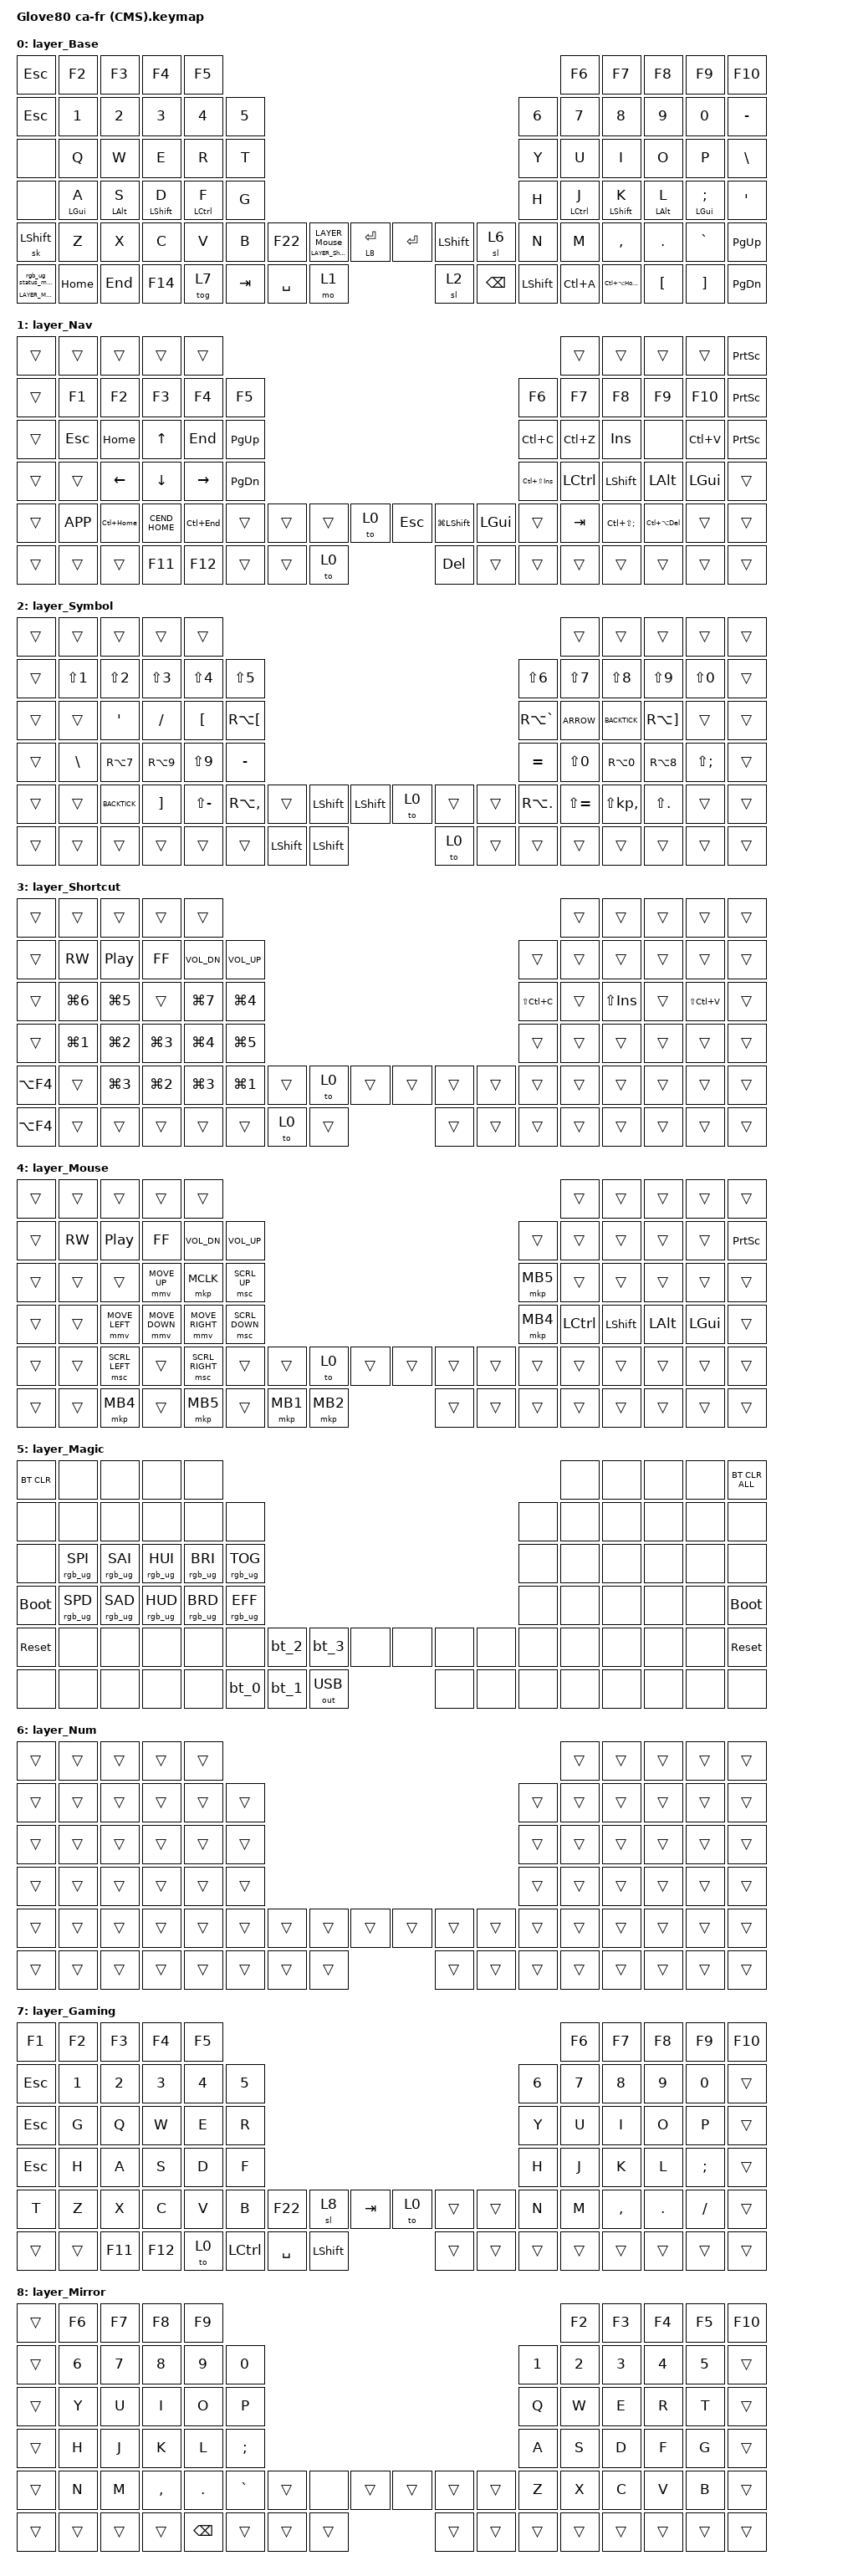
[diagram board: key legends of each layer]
/*
 * Copyright (c) 2020 The ZMK Contributors
 * Copyright (c) 2025 Innaworks Development Limited, trading as MoErgo
 *
 * SPDX-License-Identifier: MIT
 */


/* THIS FILE WAS GENERATED BY GLOVE80 LAYOUT EDITOR
 *
 * This file was generated automatically. You may or may not want to
 * edit it directly.
 */

#include <behaviors.dtsi>
/* Include all behavior includes needed */
#include <dt-bindings/zmk/outputs.h>
#include <dt-bindings/zmk/keys.h>
#include <dt-bindings/zmk/bt.h>
#include <dt-bindings/zmk/rgb.h>

/* On demand includes */
#include <dt-bindings/zmk/pointing.h>

/* Automatically generated layer name #define */
#define LAYER_Base 0
#define LAYER_Nav 1
#define LAYER_Symbol 2
#define LAYER_Shortcut 3
#define LAYER_Mouse 4
#define LAYER_Magic 5
#define LAYER_Num 6
#define LAYER_Gaming 7
#define LAYER_Mirror 8

/* To deal with the situation where there is no Lower layer, to keep &lower happy */
#ifndef LAYER_Lower
#define LAYER_Lower 0
#endif

/* Custom Device-tree */
/ {
    underglow-layer {
        compatible  = "zmk,underglow-layer";

        // color definitions from QMK
        // https://github.com/qmk/qmk_firmware/blob/master/quantum/color.h
        //
        #define RGB_AZURE     0x99F5FF // #99F5FF
        #define RGB_BLACK     0x000000 // #000000
        #define RGB_BLUE      0x0000FF // #0000FF
        #define RGB_CHARTRSE  0x80FF00 // #80FF00
        #define RGB_CORAL     0xFF7C4D // #FF7C4D
        #define RGB_CYAN      0x00FFFF // #00FFFF
        #define RGB_GOLD      0xFFD900 // #FFD900
        #define RGB_GOLDNROD  0xD9A521 // #D9A521
        #define RGB_GREEN     0x00FF00 // #00FF00
        #define RGB_MAGENTA   0xFF00FF // #FF00FF
        #define RGB_ORANGE    0xFF8000 // #FF8000
        #define RGB_PINK      0xFF80BF // #FF80BF
        #define RGB_PURPLE    0x7A00FF // #7A00FF
        #define RGB_RED       0xFF0000 // #FF0000
        #define RGB_SPRINGRN  0x00FF80 // #00FF80
        #define RGB_TEAL      0x008080 // #008080
        #define RGB_TURQUOIS  0x476E6A // #476E6A
        #define RGB_WHITE     0xFFFFFF // #FFFFFF
        #define RGB_YELLOW    0xFFFF00 // #FFFF00

        // underglow for the colors above
        //
        #define AZURE     &ug RGB_AZURE
        #define BLACK     &ug RGB_BLACK
        #define BLUE      &ug RGB_BLUE
        #define CHARTRSE  &ug RGB_CHARTRSE
        #define CORAL     &ug RGB_CORAL
        #define CYAN      &ug RGB_CYAN
        #define GOLD      &ug RGB_GOLD
        #define GOLDNROD  &ug RGB_GOLDNROD
        #define GREEN     &ug RGB_GREEN
        #define MAGENTA   &ug RGB_MAGENTA
        #define ORANGE    &ug RGB_ORANGE
        #define PINK      &ug RGB_PINK
        #define PURPLE    &ug RGB_PURPLE
        #define RED       &ug RGB_RED
        #define SPRINGRN  &ug RGB_SPRINGRN
        #define TEAL      &ug RGB_TEAL
        #define TURQUOIS  &ug RGB_TURQUOIS
        #define WHITE     &ug RGB_WHITE
        #define YELLOW    &ug RGB_YELLOW
        #define ________  &ug RGB_BLACK

        /*
        Template {
            bindings = <
                ________ ________ ________ ________ ________                                                                          ________ ________ ________ ________ ________
                ________ ________ ________ ________ ________ ________                                                        ________ ________ ________ ________ ________ ________
                ________ ________ ________ ________ ________ ________                                                        ________ ________ ________ ________ ________ ________
                ________ ________ ________ ________ ________ ________                                                        ________ ________ ________ ________ ________ ________
                ________ ________ ________ ________ ________ ________ ________ ________ ________  ________ ________ ________ ________ ________ ________ ________ ________ ________
                ________ ________ ________ ________ ________          ________ ________ ________  ________ ________ ________          ________ ________ ________ ________ ________
        >;
            layer-id = <LAYER_Template>;
        };
        */
        nav {
            bindings = <
                GREEN    GREEN    GREEN    GREEN    GREEN                                                                             GREEN    GREEN    GREEN    GREEN    GREEN
                ________ ________ ________ ________ ________ ________                                                        ________ ________ ________ ________ ________ ________
                ________ ________ ________ ________ ________ ________                                                        ________ ________ ________ ________ ________ ________
                ________ ________ ________ ________ ________ ________                                                        ________ ________ ________ ________ ________ ________
                ________ ________ ________ ________ ________ ________ ________ ________ ________  ________ ________ ________ ________ ________ ________ ________ ________ ________
                ________ ________ ________ ________ ________          ________ ________ ________  ________ ________ ________          ________ ________ ________ ________ ________
        >;
            layer-id = <LAYER_Nav>;
        };

        symbol {
            bindings = <
                PINK     PINK     PINK     PINK     PINK                                                                              PINK     PINK     PINK     PINK     PINK
                ________ ________ ________ ________ ________ ________                                                        ________ ________ ________ ________ ________ ________
                ________ ________ ________ ________ ________ ________                                                        ________ ________ ________ ________ ________ ________
                ________ ________ ________ ________ ________ ________                                                        ________ ________ ________ ________ ________ ________
                ________ ________ ________ ________ ________ ________ ________ ________ ________  ________ ________ ________ ________ ________ ________ ________ ________ ________
                ________ ________ ________ ________ ________          ________ ________ ________  ________ ________ ________          ________ ________ ________ ________ ________
        >;
            layer-id = <LAYER_Symbol>;
        };

        shortcut {
            bindings = <
                ORANGE   ORANGE   ORANGE   ORANGE   ORANGE                                                                            ORANGE   ORANGE   ORANGE   ORANGE   ORANGE
                ________ ________ ________ ________ ________ ________                                                        ________ ________ ________ ________ ________ ________
                ________ ________ ________ ________ ________ ________                                                        ________ ________ ________ ________ ________ ________
                ________ ________ ________ ________ ________ ________                                                        ________ ________ ________ ________ ________ ________
                ________ ________ ________ ________ ________ ________ ________ ________ ________  ________ ________ ________ ________ ________ ________ ________ ________ ________
                ________ ________ ________ ________ ________          ________ ________ ________  ________ ________ ________          ________ ________ ________ ________ ________
        >;
            layer-id = <LAYER_Shortcut>;
        };

        mouse {
            bindings = <
                YELLOW   YELLOW   YELLOW   YELLOW   YELLOW                                                                            YELLOW   YELLOW   YELLOW   YELLOW   YELLOW
                ________ ________ ________ ________ ________ ________                                                        ________ ________ ________ ________ ________ ________
                ________ ________ ________ ________ ________ ________                                                        ________ ________ ________ ________ ________ ________
                ________ ________ ________ ________ ________ ________                                                        ________ ________ ________ ________ ________ ________
                ________ ________ ________ ________ ________ ________ ________ ________ ________  ________ ________ ________ ________ ________ ________ ________ ________ ________
                ________ ________ ________ ________ ________          ________ ________ ________  ________ ________ ________          ________ ________ ________ ________ ________
        >;
            layer-id = <LAYER_Mouse>;
        };

        magic {
            bindings = <
                MAGENTA  MAGENTA  MAGENTA  MAGENTA  MAGENTA                                                                           MAGENTA  MAGENTA  MAGENTA  MAGENTA  MAGENTA
                ________ ________ ________ ________ ________ ________                                                        ________ ________ ________ ________ ________ ________
                ________ ________ ________ ________ ________ ________                                                        ________ ________ ________ ________ ________ ________
                ________ ________ ________ ________ ________ ________                                                        ________ ________ ________ ________ ________ ________
                ________ ________ ________ ________ ________ ________ ________ ________ ________  ________ ________ ________ ________ ________ ________ ________ ________ ________
                ________ ________ ________ ________ ________          ________ ________ ________  ________ ________ ________          ________ ________ ________ ________ ________
        >;
            layer-id = <LAYER_Magic>;
        };

        gaming {
            bindings = <
                RED      RED      RED      RED      RED                                                                               ________ ________ ________ ________ ________
                ________ ________ ________ ________ ________ ________                                                        ________ ________ ________ ________ ________ ________
                ________ ________ ________ ________ ________ ________                                                        ________ ________ ________ ________ ________ ________
                ________ ________ ________ ________ ________ ________                                                        ________ ________ ________ ________ ________ ________
                ________ ________ ________ ________ ________ ________ ________ ________ ________  ________ ________ ________ ________ ________ ________ ________ ________ ________
                ________ ________ ________ ________ ________          ________ ________ ________  ________ ________ ________          ________ ________ ________ ________ ________
        >;
            layer-id = <LAYER_Gaming>;
        };

        mirror {
            bindings = <
                WHITE    WHITE    WHITE    WHITE    WHITE                                                                             WHITE    WHITE    WHITE    WHITE    WHITE
                ________ ________ ________ ________ ________ ________                                                        ________ ________ ________ ________ ________ ________
                ________ ________ ________ ________ ________ ________                                                        ________ ________ ________ ________ ________ ________
                ________ ________ ________ ________ ________ ________                                                        ________ ________ ________ ________ ________ ________
                ________ ________ ________ ________ ________ ________ ________ ________ ________  ________ ________ ________ ________ ________ ________ ________ ________ ________
                ________ ________ ________ ________ ________          ________ ________ ________  ________ ________ ________          ________ ________ ________ ________ ________
        >;
            layer-id = <LAYER_Mirror>;
        };
    };
};

/* Input Listeners */


/* System behavior and Macros */
/ {
    behaviors {
        // For the "layer" key, it'd nice to be able to use it as either a shift or a toggle.
        // Configure it as a tap dance, so the first tap (or hold) is a &mo and the second tap is a &to
        lower: lower {
            compatible = "zmk,behavior-tap-dance";
            label = "LAYER_TAP_DANCE";
            #binding-cells = <0>;
            tapping-term-ms = <200>;
            bindings = <&mo LAYER_Lower>, <&to LAYER_Lower>;
        };
    };
};

/ {
    macros {
        rgb_ug_status_macro: rgb_ug_status_macro {
            label = "RGB_UG_STATUS";
            compatible = "zmk,behavior-macro";
            #binding-cells = <0>;
            bindings
                = <&rgb_ug RGB_STATUS>;
        };
    };
};


/ {
#ifdef BT_DISC_CMD
    behaviors {
        bt_0: bt_0 {
            compatible = "zmk,behavior-tap-dance";
            label = "BT_0";
            #binding-cells = <0>;
            tapping-term-ms = <200>;
            bindings = <&bt_select_0>, <&bt BT_DISC 0>;
        };
        bt_1: bt_1 {
            compatible = "zmk,behavior-tap-dance";
            label = "BT_1";
            #binding-cells = <0>;
            tapping-term-ms = <200>;
            bindings = <&bt_select_1>, <&bt BT_DISC 1>;
        };
        bt_2: bt_2 {
            compatible = "zmk,behavior-tap-dance";
            label = "BT_2";
            #binding-cells = <0>;
            tapping-term-ms = <200>;
            bindings = <&bt_select_2>, <&bt BT_DISC 2>;
        };
        bt_3: bt_3 {
            compatible = "zmk,behavior-tap-dance";
            label = "BT_3";
            #binding-cells = <0>;
            tapping-term-ms = <200>;
            bindings = <&bt_select_3>, <&bt BT_DISC 3>;
        };
    };
    macros {
        bt_select_0: bt_select_0 {
            label = "BT_SELECT_0";
            compatible = "zmk,behavior-macro";
            #binding-cells = <0>;
            bindings
                = <&out OUT_BLE>,
                  <&bt BT_SEL 0>;
        };
        bt_select_1: bt_select_1 {
            label = "BT_SELECT_1";
            compatible = "zmk,behavior-macro";
            #binding-cells = <0>;
            bindings
                = <&out OUT_BLE>,
                  <&bt BT_SEL 1>;
        };
        bt_select_2: bt_select_2 {
            label = "BT_SELECT_2";
            compatible = "zmk,behavior-macro";
            #binding-cells = <0>;
            bindings
                = <&out OUT_BLE>,
                  <&bt BT_SEL 2>;
        };
        bt_select_3: bt_select_3 {
            label = "BT_SELECT_3";
            compatible = "zmk,behavior-macro";
            #binding-cells = <0>;
            bindings
                = <&out OUT_BLE>,
                  <&bt BT_SEL 3>;
        };
    };
#else
    macros {
        bt_0: bt_0 {
            label = "BT_0";
            compatible = "zmk,behavior-macro";
            #binding-cells = <0>;
            bindings
                = <&out OUT_BLE>,
                  <&bt BT_SEL 0>;
        };
        bt_1: bt_1 {
            label = "BT_1";
            compatible = "zmk,behavior-macro";
            #binding-cells = <0>;
            bindings
                = <&out OUT_BLE>,
                  <&bt BT_SEL 1>;
        };
        bt_2: bt_2 {
            label = "BT_2";
            compatible = "zmk,behavior-macro";
            #binding-cells = <0>;
            bindings
                = <&out OUT_BLE>,
                  <&bt BT_SEL 2>;
        };
        bt_3: bt_3 {
            label = "BT_3";
            compatible = "zmk,behavior-macro";
            #binding-cells = <0>;
            bindings
                = <&out OUT_BLE>,
                  <&bt BT_SEL 3>;
        };
    };
#endif
};

/ {
    behaviors {
        magic: magic {
            compatible = "zmk,behavior-hold-tap";
            label = "MAGIC_HOLD_TAP";
            #binding-cells = <2>;
            flavor = "tap-preferred";
            tapping-term-ms = <200>;
            bindings = <&mo>, <&rgb_ug_status_macro>;
        };
    };
};

/* #define for key positions */
#define POS_LH_T1 52
#define POS_LH_T2 53
#define POS_LH_T3 54
#define POS_LH_T4 69
#define POS_LH_T5 70
#define POS_LH_T6 71
#define POS_LH_C1R2 15
#define POS_LH_C1R3 27
#define POS_LH_C1R4 39
#define POS_LH_C1R5 51
#define POS_LH_C2R1 4
#define POS_LH_C2R2 14
#define POS_LH_C2R3 26
#define POS_LH_C2R4 38
#define POS_LH_C2R5 50
#define POS_LH_C2R6 68
#define POS_LH_C3R1 3
#define POS_LH_C3R2 13
#define POS_LH_C3R3 25
#define POS_LH_C3R4 37
#define POS_LH_C3R5 49
#define POS_LH_C3R6 67
#define POS_LH_C4R1 2
#define POS_LH_C4R2 12
#define POS_LH_C4R3 24
#define POS_LH_C4R4 36
#define POS_LH_C4R5 48
#define POS_LH_C4R6 66
#define POS_LH_C5R1 1
#define POS_LH_C5R2 11
#define POS_LH_C5R3 23
#define POS_LH_C5R4 35
#define POS_LH_C5R5 47
#define POS_LH_C5R6 65
#define POS_LH_C6R1 0
#define POS_LH_C6R2 10
#define POS_LH_C6R3 22
#define POS_LH_C6R4 34
#define POS_LH_C6R5 46
#define POS_LH_C6R6 64
#define POS_RH_T1 57
#define POS_RH_T2 56
#define POS_RH_T3 55
#define POS_RH_T4 74
#define POS_RH_T5 73
#define POS_RH_T6 72
#define POS_RH_C1R2 16
#define POS_RH_C1R3 28
#define POS_RH_C1R4 40
#define POS_RH_C1R5 58
#define POS_RH_C2R1 5
#define POS_RH_C2R2 17
#define POS_RH_C2R3 29
#define POS_RH_C2R4 41
#define POS_RH_C2R5 59
#define POS_RH_C2R6 75
#define POS_RH_C3R1 6
#define POS_RH_C3R2 18
#define POS_RH_C3R3 30
#define POS_RH_C3R4 42
#define POS_RH_C3R5 60
#define POS_RH_C3R6 76
#define POS_RH_C4R1 7
#define POS_RH_C4R2 19
#define POS_RH_C4R3 31
#define POS_RH_C4R4 43
#define POS_RH_C4R5 61
#define POS_RH_C4R6 77
#define POS_RH_C5R1 8
#define POS_RH_C5R2 20
#define POS_RH_C5R3 32
#define POS_RH_C5R4 44
#define POS_RH_C5R5 62
#define POS_RH_C5R6 78
#define POS_RH_C6R1 9
#define POS_RH_C6R2 21
#define POS_RH_C6R3 33
#define POS_RH_C6R4 45
#define POS_RH_C6R5 63
#define POS_RH_C6R6 79

/* Custom Defined Behaviors */
/ {
#include <dt-bindings/zmk/behaviors.h>

behaviors {
        mt: mod_tap {
            compatible = "zmk,behavior-hold-tap";
            #binding-cells = <2>;
            flavor = "tap-preferred";
            tapping-term-ms = <250>;
            require-prior-idle-ms = <125>;
            bindings = <&kp>, <&kp>;
            display-name = "Mod-Tap";
        };

        mo_tog: behavior_mo_tog {
            compatible = "zmk,behavior-hold-tap";
            #binding-cells = <2>;
            flavor = "hold-preferred";
            tapping-term-ms = <200>;
            bindings = <&mo>, <&tog>;
        };
    };
};

/* Automatically generated macro definitions */
/ {
    macros {

        // Ctrl+End, Home
        CEND_HOME: CEND_HOME {
            label = "&CEND_HOME";
            compatible = "zmk,behavior-macro";
            #binding-cells = <0>;
            bindings = <&kp LC(END)>
                , <&kp HOME>;
        };

        // ` CMS
        BACKTICK: BACKTICK {
            label = "&BACKTICK";
            compatible = "zmk,behavior-macro";
            #binding-cells = <0>;
            bindings = <&kp RA(LBKT)>
                , <&kp SPACE>;
        };

        // -> CMS
        ARROW: ARROW {
            label = "&ARROW";
            compatible = "zmk,behavior-macro";
            #binding-cells = <0>;
            bindings = <&kp MINUS>
                , <&kp RA(DOT)>;
        };
    };
};

/* Automatically generated behavior definitions */
/ {
    behaviors {

    };
};

/* Automatically generated combos definitions */


/* Automatically generated keymap */
/ {
    keymap {
        compatible = "zmk,keymap";


        layer_Base {
            bindings = <
              &kp ESC      &kp F2      &kp F3       &kp F4       &kp F5                                                                                                              &kp F6            &kp F7      &kp F8         &kp F9    &kp F10
              &kp ESC      &kp N1      &kp N2       &kp N3       &kp N4  &kp N5                                                                                         &kp N6       &kp N7            &kp N8      &kp N9         &kp N0  &kp MINUS
                &none       &kp Q       &kp W        &kp E        &kp R   &kp T                                                                                          &kp Y        &kp U             &kp I       &kp O          &kp P   &kp BSLH
                &none  &mt LGUI A  &mt LALT S  &mt LSHFT D  &mt LCTRL F   &kp G                                                                                          &kp H  &mt LCTRL J       &mt LSHFT K  &mt LALT L  &mt LGUI SEMI    &kp SQT
            &sk LSHFT       &kp Z       &kp X        &kp C        &kp V   &kp B  &kp F22  &mo_tog LAYER_Shortcut LAYER_Mouse  &lt 8 RET  &kp RET  &kp LSHFT      &sl 6   &kp N        &kp M         &kp COMMA     &kp DOT      &kp GRAVE  &kp PG_UP
 &magic LAYER_Magic 0    &kp HOME     &kp END      &kp F14       &tog 7          &kp TAB                           &kp SPACE      &mo 1    &sl 2   &kp BSPC  &kp LSHFT            &kp LC(A)  &kp LC(LA(HOME))    &kp LBKT       &kp RBKT  &kp PG_DN
            >;
        };

        layer_Nav {
            bindings = <
 &trans     &trans          &trans          &trans           &trans                                                                                           &trans            &trans           &trans     &trans  &kp PSCRN
 &trans     &kp F1          &kp F2          &kp F3           &kp F4     &kp F5                                                                     &kp F6     &kp F7            &kp F8           &kp F9    &kp F10  &kp PSCRN
 &trans    &kp ESC        &kp HOME    &kp UP_ARROW          &kp END  &kp PG_UP                                                                  &kp LC(C)  &kp LC(Z)           &kp INS            &none  &kp LC(V)  &kp PSCRN
 &trans     &trans  &kp LEFT_ARROW  &kp DOWN_ARROW  &kp RIGHT_ARROW  &kp PG_DN                                                            &kp LC(LS(INS))  &kp LCTRL         &kp LSHFT         &kp LALT   &kp LGUI     &trans
 &trans  &kp K_APP    &kp LC(HOME)      &CEND_HOME      &kp LC(END)     &trans  &trans  &trans   &to 0  &kp ESC  &kp LG(LSHFT)  &kp LGUI           &trans    &kp TAB  &kp LC(LS(SEMI))  &kp LC(LA(DEL))     &trans     &trans
 &trans     &trans          &trans         &kp F11          &kp F12             &trans  &trans   &to 0  &kp DEL         &trans    &trans                      &trans            &trans           &trans     &trans     &trans
            >;
        };

        layer_Symbol {
            bindings = <
 &trans      &trans      &trans      &trans         &trans                                                                                             &trans            &trans        &trans        &trans  &trans
 &trans  &kp LS(N1)  &kp LS(N2)  &kp LS(N3)     &kp LS(N4)     &kp LS(N5)                                                           &kp LS(N6)     &kp LS(N7)        &kp LS(N8)    &kp LS(N9)    &kp LS(N0)  &trans
 &trans      &trans     &kp SQT    &kp FSLH       &kp LBKT   &kp RA(LBKT)                                                        &kp RA(GRAVE)         &ARROW         &BACKTICK  &kp RA(RBKT)        &trans  &trans
 &trans    &kp BSLH  &kp RA(N7)  &kp RA(N9)     &kp LS(N9)      &kp MINUS                                                            &kp EQUAL     &kp LS(N0)        &kp RA(N0)    &kp RA(N8)  &kp LS(SEMI)  &trans
 &trans      &trans   &BACKTICK    &kp RBKT  &kp LS(MINUS)  &kp RA(COMMA)  &trans  &kp LSHFT  &kp LSHFT   &to 0  &trans  &trans    &kp RA(DOT)  &kp LS(EQUAL)  &kp LS(KP_COMMA)   &kp LS(DOT)        &trans  &trans
 &trans      &trans      &trans      &trans         &trans                 &trans  &kp LSHFT  &kp LSHFT   &to 0  &trans  &trans                        &trans            &trans        &trans        &trans  &trans
            >;
        };

        layer_Shortcut {
            bindings = <
     &trans      &trans      &trans      &trans        &trans                                                                               &trans       &trans  &trans         &trans  &trans
     &trans    &kp C_RW    &kp C_PP    &kp C_FF  &kp K_VOL_DN  &kp K_VOL_UP                                                         &trans  &trans       &trans  &trans         &trans  &trans
     &trans  &kp LG(N6)  &kp LG(N5)      &trans    &kp LG(N7)    &kp LG(N4)                                                  &kp LS(LC(C))  &trans  &kp LS(INS)  &trans  &kp LS(LC(V))  &trans
     &trans  &kp LG(N1)  &kp LG(N2)  &kp LG(N3)    &kp LG(N4)    &kp LG(N5)                                                         &trans  &trans       &trans  &trans         &trans  &trans
 &kp LA(F4)      &trans  &kp LG(N3)  &kp LG(N2)    &kp LG(N3)    &kp LG(N1)  &trans   &to 0  &trans  &trans  &trans  &trans         &trans  &trans       &trans  &trans         &trans  &trans
 &kp LA(F4)      &trans      &trans      &trans        &trans                &trans   &to 0  &trans  &trans  &trans  &trans                 &trans       &trans  &trans         &trans  &trans
            >;
        };

        layer_Mouse {
            bindings = <
 &trans    &trans          &trans          &trans           &trans                                                                                   &trans     &trans    &trans    &trans     &trans
 &trans  &kp C_RW        &kp C_PP        &kp C_FF     &kp K_VOL_DN    &kp K_VOL_UP                                                        &trans     &trans     &trans    &trans    &trans  &kp PSCRN
 &trans    &trans          &trans    &mmv MOVE_UP        &mkp MCLK    &msc SCRL_UP                                                      &mkp MB5     &trans     &trans    &trans    &trans     &trans
 &trans    &trans  &mmv MOVE_LEFT  &mmv MOVE_DOWN  &mmv MOVE_RIGHT  &msc SCRL_DOWN                                                      &mkp MB4  &kp LCTRL  &kp LSHFT  &kp LALT  &kp LGUI     &trans
 &trans    &trans  &msc SCRL_LEFT          &trans  &msc SCRL_RIGHT          &trans  &trans     &to 0    &trans  &trans  &trans  &trans    &trans     &trans     &trans    &trans    &trans     &trans
 &trans    &trans        &mkp MB4          &trans         &mkp MB5                  &trans  &mkp MB1  &mkp MB2  &trans  &trans  &trans               &trans     &trans    &trans    &trans     &trans
            >;
        };

        layer_Magic {
            bindings = <
  &bt BT_CLR            &none            &none            &none            &none                                                                                  &none   &none   &none   &none  &bt BT_CLR_ALL
       &none            &none            &none            &none            &none            &none                                                         &none   &none   &none   &none   &none           &none
       &none  &rgb_ug RGB_SPI  &rgb_ug RGB_SAI  &rgb_ug RGB_HUI  &rgb_ug RGB_BRI  &rgb_ug RGB_TOG                                                         &none   &none   &none   &none   &none           &none
 &bootloader  &rgb_ug RGB_SPD  &rgb_ug RGB_SAD  &rgb_ug RGB_HUD  &rgb_ug RGB_BRD  &rgb_ug RGB_EFF                                                         &none   &none   &none   &none   &none     &bootloader
  &sys_reset            &none            &none            &none            &none            &none   &bt_2   &bt_3         &none   &none   &none   &none   &none   &none   &none   &none   &none      &sys_reset
       &none            &none            &none            &none            &none                    &bt_0   &bt_1  &out OUT_USB   &none   &none   &none           &none   &none   &none   &none           &none
            >;
        };

        layer_Num {
            bindings = <
 &trans  &trans  &trans  &trans  &trans                                                                  &trans  &trans  &trans  &trans  &trans
 &trans  &trans  &trans  &trans  &trans  &trans                                                  &trans  &trans  &trans  &trans  &trans  &trans
 &trans  &trans  &trans  &trans  &trans  &trans                                                  &trans  &trans  &trans  &trans  &trans  &trans
 &trans  &trans  &trans  &trans  &trans  &trans                                                  &trans  &trans  &trans  &trans  &trans  &trans
 &trans  &trans  &trans  &trans  &trans  &trans  &trans  &trans  &trans  &trans  &trans  &trans  &trans  &trans  &trans  &trans  &trans  &trans
 &trans  &trans  &trans  &trans  &trans          &trans  &trans  &trans  &trans  &trans  &trans          &trans  &trans  &trans  &trans  &trans
            >;
        };

        layer_Gaming {
            bindings = <
  &kp F1  &kp F2   &kp F3   &kp F4  &kp F5                                                                           &kp F6     &kp F7   &kp F8    &kp F9  &kp F10
 &kp ESC  &kp N1   &kp N2   &kp N3  &kp N4  &kp N5                                                           &kp N6  &kp N7     &kp N8   &kp N9    &kp N0   &trans
 &kp ESC   &kp G    &kp Q    &kp W   &kp E   &kp R                                                            &kp Y   &kp U      &kp I    &kp O     &kp P   &trans
 &kp ESC   &kp H    &kp A    &kp S   &kp D   &kp F                                                            &kp H   &kp J      &kp K    &kp L  &kp SEMI   &trans
   &kp T   &kp Z    &kp X    &kp C   &kp V   &kp B    &kp F22      &sl 8    &kp TAB   &to 0  &trans  &trans   &kp N   &kp M  &kp COMMA  &kp DOT  &kp FSLH   &trans
  &trans  &trans  &kp F11  &kp F12   &to 0          &kp LCTRL  &kp SPACE  &kp LSHFT  &trans  &trans  &trans          &trans     &trans   &trans    &trans   &trans
            >;
        };

        layer_Mirror {
            bindings = <
 &trans  &kp F6  &kp F7     &kp F8    &kp F9                                                                     &kp F2  &kp F3  &kp F4  &kp F5  &kp F10
 &trans  &kp N6  &kp N7     &kp N8    &kp N9     &kp N0                                                  &kp N1  &kp N2  &kp N3  &kp N4  &kp N5   &trans
 &trans   &kp Y   &kp U      &kp I     &kp O      &kp P                                                   &kp Q   &kp W   &kp E   &kp R   &kp T   &trans
 &trans   &kp H   &kp J      &kp K     &kp L   &kp SEMI                                                   &kp A   &kp S   &kp D   &kp F   &kp G   &trans
 &trans   &kp N   &kp M  &kp COMMA   &kp DOT  &kp GRAVE  &trans   &none  &trans  &trans  &trans  &trans   &kp Z   &kp X   &kp C   &kp V   &kp B   &trans
 &trans  &trans  &trans     &trans  &kp BSPC             &trans  &trans  &trans  &trans  &trans  &trans          &trans  &trans  &trans  &trans   &trans
            >;
        };

    };
};
